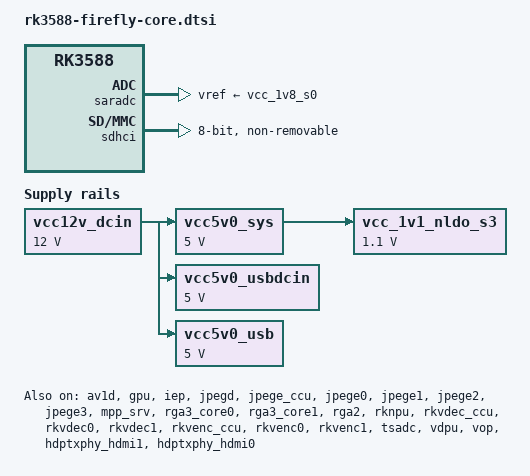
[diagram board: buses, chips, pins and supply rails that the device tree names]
// SPDX-License-Identifier: (GPL-2.0+ OR MIT)
/*
 * Copyright (c) 2021 Rockchip Electronics Co., Ltd.
 *
 */

#include "dt-bindings/usb/pd.h"
#ifdef rk3588
#include "rk3588.dtsi"
#else
#include "rk3588s.dtsi"
#endif
#include "rk3588-firefly-rk806-single.dtsi"
#include <dt-bindings/gpio/gpio.h>
#include <dt-bindings/pwm/pwm.h>
#include <dt-bindings/pinctrl/rockchip.h>
#include <dt-bindings/input/rk-input.h>
#include <dt-bindings/display/drm_mipi_dsi.h>
#include <dt-bindings/display/rockchip_vop.h>
#include <dt-bindings/sensor-dev.h>

/ {
	test-power {
		status = "okay";
	};

	vcc12v_dcin: vcc12v-dcin {
		compatible = "regulator-fixed";
		regulator-name = "vcc12v_dcin";
		regulator-always-on;
		regulator-boot-on;
		regulator-min-microvolt = <12000000>;
		regulator-max-microvolt = <12000000>;
	};

	vcc5v0_sys: vcc5v0-sys {
		compatible = "regulator-fixed";
		regulator-name = "vcc5v0_sys";
		regulator-always-on;
		regulator-boot-on;
		regulator-min-microvolt = <5000000>;
		regulator-max-microvolt = <5000000>;
		vin-supply = <&vcc12v_dcin>;
	};

	vcc5v0_usbdcin: vcc5v0-usbdcin {
		compatible = "regulator-fixed";
		regulator-name = "vcc5v0_usbdcin";
		regulator-always-on;
		regulator-boot-on;
		regulator-min-microvolt = <5000000>;
		regulator-max-microvolt = <5000000>;
		vin-supply = <&vcc12v_dcin>;
	};

	vcc5v0_usb: vcc5v0-usb {
		compatible = "regulator-fixed";
		regulator-name = "vcc5v0_usb";
		regulator-always-on;
		regulator-boot-on;
		regulator-min-microvolt = <5000000>;
		regulator-max-microvolt = <5000000>;
		vin-supply = <&vcc12v_dcin>;
	};

	vcc_1v1_nldo_s3: vcc-1v1-nldo-s3 {
		compatible = "regulator-fixed";
		regulator-name = "vcc_1v1_nldo_s3";
		regulator-always-on;
		regulator-boot-on;
		regulator-min-microvolt = <1100000>;
		regulator-max-microvolt = <1100000>;
		vin-supply = <&vcc5v0_sys>;
	};
};

&av1d {
	status = "okay";
};

&av1d_mmu {
	status = "okay";
};

&cpu_l0 {
	cpu-supply = <&vdd_cpu_lit_s0>;
	mem-supply = <&vdd_cpu_lit_mem_s0>;
};

&cpu_b0 {
	cpu-supply = <&vdd_cpu_big0_s0>;
	mem-supply = <&vdd_cpu_big0_mem_s0>;
};

&cpu_b2 {
	cpu-supply = <&vdd_cpu_big1_s0>;
	mem-supply = <&vdd_cpu_big1_mem_s0>;
};

&gpu {
	mali-supply = <&vdd_gpu_s0>;
	mem-supply = <&vdd_gpu_mem_s0>;
	status = "okay";
};

&iep {
	status = "okay";
};

&iep_mmu {
	status = "okay";
};

&jpegd {
	status = "okay";
};

&jpegd_mmu {
	status = "okay";
};

&jpege_ccu {
	status = "okay";
};

&jpege0 {
	status = "okay";
};

&jpege0_mmu {
	status = "okay";
};

&jpege1 {
	status = "okay";
};

&jpege1_mmu {
	status = "okay";
};

&jpege2 {
	status = "okay";
};

&jpege2_mmu {
	status = "okay";
};

&jpege3 {
	status = "okay";
};

&jpege3_mmu {
	status = "okay";
};

&mpp_srv {
	status = "okay";
};

&rga3_core0 {
	status = "okay";
};

&rga3_0_mmu {
	status = "okay";
};

&rga3_core1 {
	status = "okay";
};

&rga3_1_mmu {
	status = "okay";
};

&rga2 {
	status = "okay";
};

&rknpu {
	rknpu-supply = <&vdd_npu_s0>;
	mem-supply = <&vdd_npu_mem_s0>;
	status = "okay";
};

&rknpu_mmu {
	status = "okay";
};

&rkvdec_ccu {
	status = "okay";
};

&rkvdec0 {
	status = "okay";
};

&rkvdec0_mmu {
	status = "okay";
};

&rkvdec1 {
	status = "okay";
};

&rkvdec1_mmu {
	status = "okay";
};

&rkvenc_ccu {
	status = "okay";
};

&rkvenc0 {
	status = "okay";
};

&rkvenc0_mmu {
	status = "okay";
};

&rkvenc1 {
	status = "okay";
};

&rkvenc1_mmu {
	status = "okay";
};

&rockchip_suspend {
	status = "okay";
	rockchip,sleep-debug-en = <1>;
};

&saradc {
	status = "okay";
	vref-supply = <&vcc_1v8_s0>;
};

&sdhci {
	bus-width = <8>;
	no-sdio;
	no-sd;
	non-removable;
	max-frequency = <200000000>;
	mmc-hs400-1_8v;
	mmc-hs400-enhanced-strobe;
	status = "okay";
};

&sdmmc {
	max-frequency = <150000000>;
	no-sdio;
	no-mmc;
	bus-width = <4>;
	cap-mmc-highspeed;
	cap-sd-highspeed;
	disable-wp;
	sd-uhs-sdr104;
	vqmmc-supply = <&vccio_sd_s0>;
	status = "disabled";
};

&tsadc {
	status = "okay";
};
&vdpu {
	status = "okay";
};

&vdpu_mmu {
	status = "okay";
};

&vop {
	status = "okay";
};

&vop_mmu {
	status = "okay";
};

#ifdef rk3588

&display_subsystem {
       clocks = <&hdptxphy_hdmi0>, <&hdptxphy_hdmi1>;
       clock-names = "hdmi0_phy_pll", "hdmi1_phy_pll";
};

&hdptxphy_hdmi1 {
       status = "okay";
};

#else

&display_subsystem {
       clocks = <&hdptxphy_hdmi0>;
       clock-names = "hdmi0_phy_pll";
};

#endif

&hdptxphy_hdmi0 {
       status = "okay";
};

/* vp0 & vp1 splice for 8K output */
&vp0 {
	rockchip,plane-mask = <(1 << ROCKCHIP_VOP2_CLUSTER0 | 1 << ROCKCHIP_VOP2_ESMART0)>;
	rockchip,primary-plane = <ROCKCHIP_VOP2_ESMART0>;
	assigned-clocks = <&cru ACLK_VOP>;
	assigned-clock-rates = <800000000>;
};

&vp1 {
	rockchip,plane-mask = <(1 << ROCKCHIP_VOP2_CLUSTER1 | 1 << ROCKCHIP_VOP2_ESMART1)>;
	rockchip,primary-plane = <ROCKCHIP_VOP2_ESMART1>;
};

&vp2 {
	rockchip,plane-mask = <(1 << ROCKCHIP_VOP2_CLUSTER2 | 1 << ROCKCHIP_VOP2_ESMART2)>;
	rockchip,primary-plane = <ROCKCHIP_VOP2_ESMART2>;
};

&vp3 {
	rockchip,plane-mask = <(1 << ROCKCHIP_VOP2_CLUSTER3 | 1 << ROCKCHIP_VOP2_ESMART3)>;
	rockchip,primary-plane = <ROCKCHIP_VOP2_ESMART3>;
};
